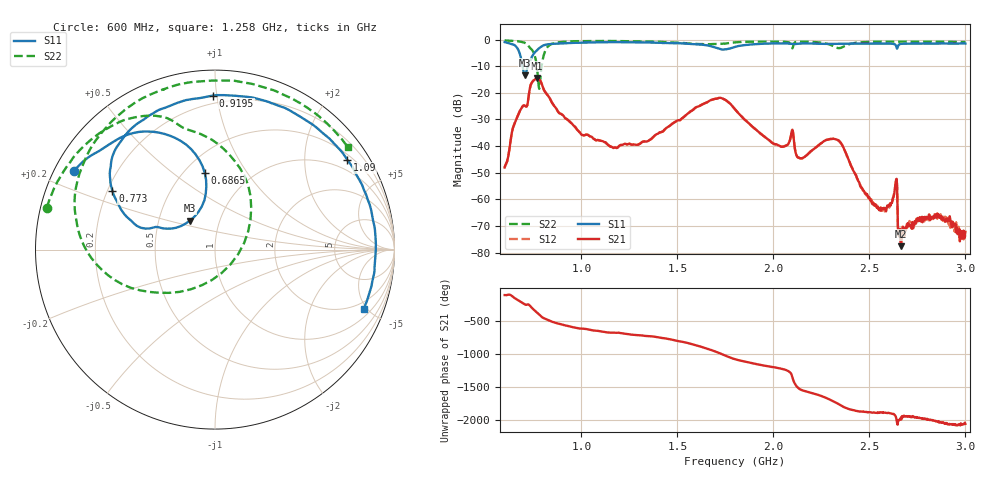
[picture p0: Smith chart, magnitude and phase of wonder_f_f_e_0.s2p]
#  HZ  S  RI  R  50.00
! Rohde & Schwarz ZVB8 2Ports - Version 2.81 - 1145.1010k08 SN: 100113
! Date: 2016-05-12 03:17:01
! Measurements: S11 S21 S12 S22
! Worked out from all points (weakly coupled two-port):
!   1000 points, 600 MHz to 3 GHz, reference 50 ohm
!   highest |S21| = -14.44 dB at 770.6 MHz (marker M1); lowest = -77.6 dB at 2.664 GHz (marker M2)
!   lowest |S11| = -13.4 dB at 705.7 MHz (marker M3), VSWR 1.54, Z = 36 + j12.2 ohm
!   |S11| at or under -10 dB: 693.7 MHz to 720.6 MHz (26.87 MHz wide, 3.8 % of centre)
!   |S22| runs from -18.5 to -0.3 dB; largest |S21 - S12| = 0.0018
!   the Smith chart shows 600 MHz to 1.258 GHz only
!   S11 on the Smith chart (normalised r, x): 600 MHz: 0.06, +0.26; 686.5 MHz: 0.62, +0.66; 773 MHz: 0.22, +0.25; 919.5 MHz: 0.15, +0.98; 1.09 GHz: 0.65, +3.14; 1.258 GHz: 1.49, -4.80
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6e8  -0.7871 0.4375  -0.0013 -0.00375  -0.00135 -0.00377  -0.9373 0.2341
6.864865e8  -0.0575 0.4286  -0.0407 0.03  -0.0408 0.0302  -0.6296 0.6574
7.057057e8  -0.14 0.1616  -0.0181 0.0544  -0.0175 0.0545  -0.468 0.732
7.705706e8  -0.567 0.3111  0.1789 -0.0629  0.1792 -0.0631  0.1977 0.1674
7.72973e8  -0.5717 0.3276  0.1695 -0.0832  0.1708 -0.0839  0.1851 0.1022
8.282282e8  -0.4539 0.6847  -0.0537 -0.0672  -0.0538 -0.0676  -0.754 0.0811
9.195195e8  -0.00984 0.8583  -0.0292 0.0155  -0.0292 0.0155  -0.5571 0.7318
1.001201e9  0.3903 0.7888  -0.00409 0.0157  -0.00412 0.0157  -0.2132 0.9174
1.09009e9  0.7371 0.4995  0.00469 0.012  0.00469 0.0121  0.1704 0.9294
1.258258e9  0.8297 -0.3283  0.0104 0.00267  0.0104 0.00258  0.7418 0.5692
1.4e9  0.3445 -0.8045  0.0153 -0.00787  0.0154 -0.0079  0.9135 0.0424
1.683483e9  -0.6392 -0.3695  -0.0523 0.0537  -0.0526 0.0536  0.4605 -0.6827
1.801201e9  -0.7042 -0.1981  0.0486 0.00202  0.0486 0.00196  0.2089 -0.8667
1.976577e9  -0.7232 0.4402  -0.00369 -0.0125  -0.00369 -0.0126  -0.3351 -0.8533
2.2e9  0.0209 0.8449  -0.00696 -0.00444  -0.0069 -0.00447  -0.7789 -0.4674
2.339339e9  0.5315 0.6459  0.00886 0.00921  0.00882 0.00928  -0.6698 -0.174
2.514715e9  0.8441 -0.0118  7.57e-05 -0.000821  0.000122 -0.000876  -0.9066 0.0899
2.601201e9  0.7475 -0.3884  2.61e-05 -0.000763  -3.49e-05 -0.000744  -0.8674 0.2941
2.634835e9  0.6129 -0.5215  -0.00117 -0.0014  -0.0011 -0.00134  -0.8439 0.3636
2.663664e9  0.6276 -0.5478  -0.000124 -4.37e-05  -0.000247 -0.000118  -0.8123 0.4246
2.851051e9  -0.0665 -0.8368  -0.000383 0.000245  -0.000432 0.000271  -0.5214 0.7512
3e9  -0.5536 -0.6386  -6.98e-05 0.000235  -3.73e-05 0.000209  -0.1823 0.8846
